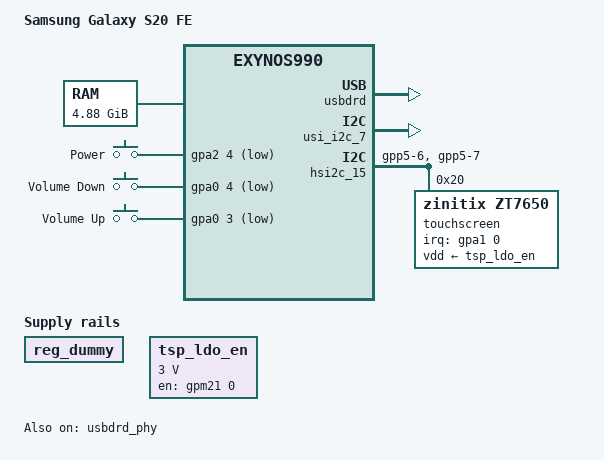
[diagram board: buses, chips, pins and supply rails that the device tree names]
// SPDX-License-Identifier: GPL-2.0 OR BSD-3-Clause
/*
 * Samsung Galaxy S20 FE (r8s/SM-G780F) device tree source
 *
 * Copyright (c) 2024, Denzeel Oliva <wachiturroxd150@gmail.com>
 */

/dts-v1/;
#include "exynos990.dtsi"
#include <dt-bindings/gpio/gpio.h>
#include <dt-bindings/input/input.h>
#include <dt-bindings/interrupt-controller/irq.h>

/ {
	model = "Samsung Galaxy S20 FE";
	compatible = "samsung,r8s", "samsung,exynos990";

	#address-cells = <2>;
	#size-cells = <2>;

	chosen {
		#address-cells = <2>;
		#size-cells = <2>;
		ranges;

		framebuffer0: framebuffer@f1000000 {
			compatible = "simple-framebuffer";
			reg = <0 0xf1000000 0 (1080 * 2400 * 4)>;
			width = <1080>;
			height = <2400>;
			stride = <(1080 * 4)>;
			format = "a8r8g8b8";
		};
	};

	memory@80000000 {
		device_type = "memory";
		reg = <0x0 0x80000000 0x0 0x3ab00000>,
		      /* Memory hole */
		      <0x0 0xc1200000 0x0 0x1ee00000>,
		      /* Memory hole */
		      <0x0 0xe1900000 0x0 0x1e700000>,
		      /* Memory hole - last block */
		      <0x8 0x80000000 0x0 0xc0000000>;
	};

	/* TODO: Remove this once PMIC is implemented */
	reg_dummy: regulator-0 {
		compatible = "regulator-fixed";
		regulator-name = "dummy_reg";
	};

	tsp_ldo_en: regulator-1 {
		compatible = "regulator-fixed";
		regulator-name = "tsp_ldo_en";
		regulator-min-microvolt = <3000000>;
		regulator-max-microvolt = <3000000>;
		gpio = <&gpm21 0 GPIO_ACTIVE_HIGH>;
		enable-active-high;
		startup-delay-us = <100000>;
		regulator-always-on;
		regulator-boot-on;
	};

	reserved-memory {
		#address-cells = <2>;
		#size-cells = <2>;
		ranges;

		cont_splash_mem: framebuffer@f1000000 {
			reg = <0 0xf1000000 0 0x13c6800>;
			no-map;
		};

		abox_reserved: audio@f7fb0000 {
			reg = <0 0xf7fb0000 0 0x2a50000>;
			no-map;
		};
	};

	gpio-keys {
		compatible = "gpio-keys";

		pinctrl-0 = <&key_power &key_voldown &key_volup>;
		pinctrl-names = "default";

		power-key {
			label = "Power";
			linux,code = <KEY_POWER>;
			gpios = <&gpa2 4 GPIO_ACTIVE_LOW>;
			wakeup-source;
		};

		voldown-key {
			label = "Volume Down";
			linux,code = <KEY_VOLUMEDOWN>;
			gpios = <&gpa0 4 GPIO_ACTIVE_LOW>;
		};

		volup-key {
			label = "Volume Up";
			linux,code = <KEY_VOLUMEUP>;
			gpios = <&gpa0 3 GPIO_ACTIVE_LOW>;
		};
	};
};

&oscclk {
	clock-frequency = <26000000>;
};

&pinctrl_alive {
	key_power: key-power-pins {
		samsung,pins = "gpa2-4";
		samsung,pin-function = <EXYNOS_PIN_FUNC_EINT>;
		samsung,pin-pud = <EXYNOS_PIN_PULL_NONE>;
		samsung,pin-drv = <EXYNOS5420_PIN_DRV_LV1>;
	};

	key_voldown: key-voldown-pins {
		samsung,pins = "gpa0-4";
		samsung,pin-function = <EXYNOS_PIN_FUNC_EINT>;
		samsung,pin-pud = <EXYNOS_PIN_PULL_NONE>;
		samsung,pin-drv = <EXYNOS5420_PIN_DRV_LV1>;
	};

	key_volup: key-volup-pins {
		samsung,pins = "gpa0-3";
		samsung,pin-function = <EXYNOS_PIN_FUNC_EINT>;
		samsung,pin-pud = <EXYNOS_PIN_PULL_NONE>;
		samsung,pin-drv = <EXYNOS5420_PIN_DRV_LV1>;
	};

	attn_irq: attn-irq-pins {
		samsung,pins = "gpa1-0";
		samsung,pin-function = <EXYNOS_PIN_FUNC_EINT>;
		samsung,pin-pud = <EXYNOS_PIN_PULL_NONE>;
		samsung,pin-drv = <EXYNOS5420_PIN_DRV_LV1>;
	};

	attn_input: attn-input-pins {
		samsung,pins = "gpa1-0";
		samsung,pin-function = <EXYNOS_PIN_FUNC_INPUT>;
		samsung,pin-pud = <EXYNOS_PIN_PULL_DOWN>;
	};
};

&pinctrl_peric1 {
	tspi2c_bus: tspi2c-bus-pins {
		samsung,pins = "gpp5-6", "gpp5-7";
		samsung,pin-function = <EXYNOS_PIN_FUNC_3>;
		samsung,pin-pud = <EXYNOS_PIN_PULL_NONE>;
		samsung,pin-drv = <EXYNOS5420_PIN_DRV_LV1>;
		samsung,pin-con-pdn = <EXYNOS_PIN_PDN_PREV>;
		samsung,pin-pud-pdn = <EXYNOS_PIN_PULL_NONE>;
	};
};

&usbdrd {
	status = "okay";
	vdd10-supply = <&reg_dummy>;
	vdd33-supply = <&reg_dummy>;
};

&usbdrd_phy {
	status = "okay";
};

&usi_i2c_7 {
        status = "okay";
};

&hsi2c_15 {
	#address-cells = <1>;
	#size-cells = <0>;
	pinctrl-names = "default";
	pinctrl-0 = <&tspi2c_bus>;
	status = "okay";

	touchscreen@20 {
		compatible = "zinitix,zt7650";
		reg = <0x20>;
		interrupt-parent = <&gpa1>;
		interrupts = <0 IRQ_TYPE_NONE>;
		vdd-supply = <&tsp_ldo_en>;
		pinctrl-names = "default";
		pinctrl-0 = <&attn_irq>;
		touchscreen-size-x = <1080>;
		touchscreen-size-y = <2400>;
		zinitix,mode = <0>;
	};
};
